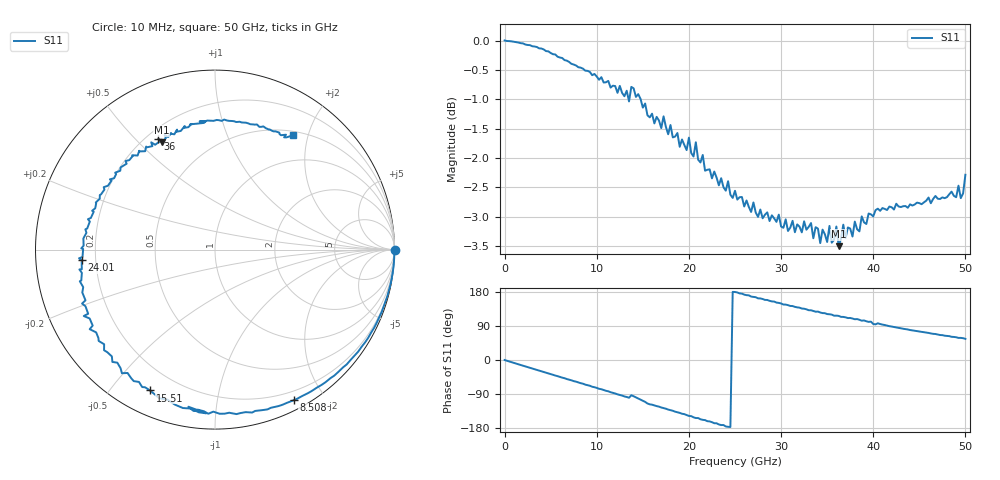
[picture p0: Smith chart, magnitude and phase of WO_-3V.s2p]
!Agilent Technologies,N5227A,US51270434,A.10.00.00
!Agilent N5227A: A.10.00.00
!Date: Friday, February 13, 2026 14:15:15
!Correction: S11(Full 1 Port(1))
!S21(Off)
!S12(Off)
!S22(Off)
!S2P File: Measurements: S11, S21, S12, S22:
# Hz S  dB  R 50
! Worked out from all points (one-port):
!   201 points, 10 MHz to 50 GHz, reference 50 ohm
!   lowest |S11| = -3.5 dB at 36.25 GHz (marker M1), VSWR 5.03, Z = 13.6 + j29.3 ohm
!   |S11| at or under -10 dB: nowhere
!   S11 on the Smith chart (normalised r, x): 10 MHz: open; 8.508 GHz: 0.10, -1.64; 15.51 GHz: 0.10, -0.63; 24.01 GHz: 0.15, -0.04; 36 GHz: 0.24, +0.58; 50 GHz: 0.56, +1.75
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1e7  0.01 -0.0  -200.00 45.0  -200.00 45.0  -200.00 45.0
2.0096e9  -0.04 -15.1  -200.00 45.0  -200.00 45.0  -200.00 45.0
4.0092e9  -0.13 -29.9  -200.00 45.0  -200.00 45.0  -200.00 45.0
6.25875e9  -0.29 -46.5  -200.00 45.0  -200.00 45.0  -200.00 45.0
8.5083e9  -0.47 -62.5  -200.00 45.0  -200.00 45.0  -200.00 45.0
1.125775e10  -0.68 -82.6  -200.00 45.0  -200.00 45.0  -200.00 45.0
1.35073e10  -1.03 -99.6  -200.00 45.0  -200.00 45.0  -200.00 45.0
1.375725e10  -0.79 -93.1  -200.00 45.0  -200.00 45.0  -200.00 45.0
1.55069e10  -1.27 -114.8  -200.00 45.0  -200.00 45.0  -200.00 45.0
1.675665e10  -1.36 -123.1  -200.00 45.0  -200.00 45.0  -200.00 45.0
2.075585e10  -1.73 -153.2  -200.00 45.0  -200.00 45.0  -200.00 45.0
2.40052e10  -2.55 -175.4  -200.00 45.0  -200.00 45.0  -200.00 45.0
2.5005e10  -2.56 179.5  -200.00 45.0  -200.00 45.0  -200.00 45.0
3.025395e10  -3.19 146.4  -200.00 45.0  -200.00 45.0  -200.00 45.0
3.35033e10  -3.37 129.4  -200.00 45.0  -200.00 45.0  -200.00 45.0
3.60028e10  -3.17 117.1  -200.00 45.0  -200.00 45.0  -200.00 45.0
3.625275e10  -3.50 116.4  -200.00 45.0  -200.00 45.0  -200.00 45.0
3.975205e10  -2.96 101.2  -200.00 45.0  -200.00 45.0  -200.00 45.0
4.0002e10  -2.99 95.0  -200.00 45.0  -200.00 45.0  -200.00 45.0
4.05019e10  -2.86 96.8  -200.00 45.0  -200.00 45.0  -200.00 45.0
4.175165e10  -2.83 89.3  -200.00 45.0  -200.00 45.0  -200.00 45.0
5e10  -2.28 55.8  -200.00 45.0  -200.00 45.0  -200.00 45.0
